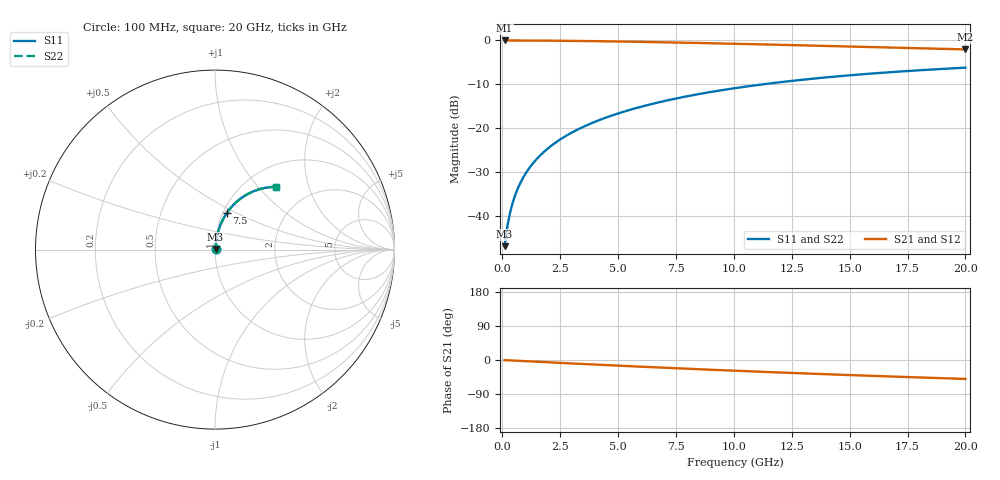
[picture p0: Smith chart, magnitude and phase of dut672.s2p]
! Touchstone file exported from HFSS 2024.1.0
!  File:  C:/UserFiles/LocalFiles/RDL_TSV_Batchsim/temp_RDL_bottom_672_1779786236.aedt
!  Generated:  05:06:21 PM May 26, 2026
!  Design:  RDL_bottom
!  Project:  temp_RDL_bottom_672_1779786236
!  Setup:  Setup1
!  Solution:  Sweep
! Variables:
!  dtsv = 10.80580581um
!  hbump = 3um
!  htsv = 98.65um
!  ldown = 678.07um
!  lrdl = 100um
!  p = 40
!  p1 = 56.18um
!  rhole = 1um
!  t = 450um
!  tdown = 4.66um
!  trdl = 3.915915916um
!  wdown = 16.48um
!  wrdl = 20um
# GHz S MA R 50.000000
! Terminal data exported
! Port[1] = RDL1_T1
! Port[2] = RDL1_T2
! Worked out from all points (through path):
!   200 points, 100 MHz to 20 GHz, reference 50 ohm
!   highest |S21| = -0.03 dB at 100 MHz (marker M1); lowest = -2.1 dB at 20 GHz (marker M2)
!   group delay of S21, straight-line fit = 6.92 ps
!   lowest |S11| = -47.0 dB at 100 MHz (marker M3), VSWR 1.01, Z = 50.3 + j0.312 ohm
!   |S11| at or under -10 dB: start of sweep to 11.31 GHz
!   |S22| runs from -47.0 to -6.2 dB; largest |S21 - S12| = 1.2e-14
!   S11 on the Smith chart (normalised r, x): 100 MHz: 1.01, +0.01; 7.5 GHz: 1.04, +0.45; 20 GHz: 1.37, +1.25
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0.1  0.004479 43.8  0.9968 -0.3  0.9968 -0.3  0.004479 43.8
! Gamma 0 0 0 0
! Port Impedance 50 0 50 0
0.2  0.007009 61.3  0.9966 -0.6  0.9966 -0.6  0.007009 61.3
0.3  0.009789 68.8  0.9965 -0.9  0.9965 -0.9  0.009789 68.8
0.4  0.01263 73.0  0.9963 -1.2  0.9963 -1.2  0.01263 73.0
0.5  0.01549 75.5  0.9961 -1.6  0.9961 -1.6  0.01549 75.5
0.6  0.01838 77.3  0.9959 -1.9  0.9959 -1.9  0.01838 77.3
0.8  0.02417 79.4  0.9956 -2.5  0.9956 -2.5  0.02417 79.4
1.1  0.03292 81.0  0.9948 -3.4  0.9948 -3.4  0.03292 81.0
1.5  0.04464 81.8  0.9936 -4.6  0.9936 -4.6  0.04464 81.8
1.8  0.05343 81.9  0.9924 -5.5  0.9924 -5.5  0.05343 81.8
2.1  0.06223 81.7  0.9911 -6.4  0.9911 -6.4  0.06223 81.7
2.7  0.07979 81.1  0.9879 -8.2  0.9879 -8.2  0.07978 81.1
3.5  0.1031 79.9  0.9826 -10.6  0.9826 -10.6  0.1031 79.9
4.2  0.1234 78.7  0.9771 -12.6  0.9771 -12.6  0.1234 78.7
5  0.1464 77.2  0.9701 -14.9  0.9701 -14.9  0.1464 77.2
6.8  0.1974 73.4  0.9519 -19.9  0.9519 -19.9  0.1974 73.4
7.5  0.2168 71.9  0.9441 -21.8  0.9441 -21.8  0.2168 71.9
8.7  0.2494 69.3  0.9301 -24.9  0.9301 -24.9  0.2493 69.3
10.1  0.286 66.2  0.913 -28.4  0.913 -28.4  0.2859 66.2
13.4  0.3649 59.0  0.8708 -36.2  0.8708 -36.2  0.3648 59.0
16.7  0.432 52.1  0.8283 -43.4  0.8283 -43.4  0.4319 52.1
20  0.4875 45.8  0.7876 -49.9  0.7876 -49.9  0.4874 45.8
